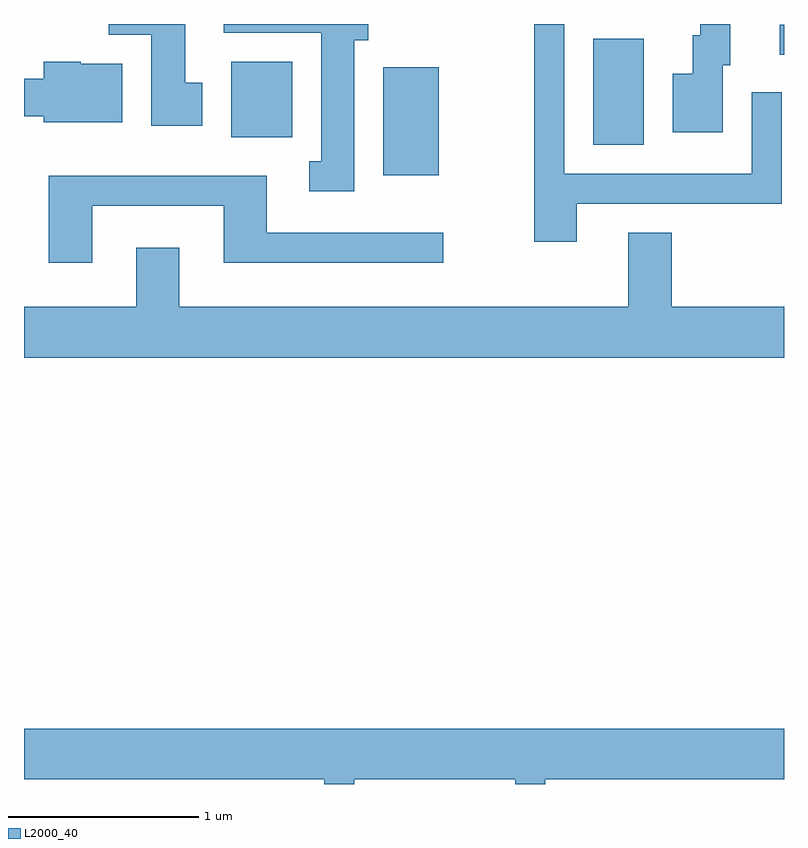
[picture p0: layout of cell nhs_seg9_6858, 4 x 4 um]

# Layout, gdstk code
import gdstk
lib = gdstk.Library(unit=1e-6, precision=1e-09)
def R(c, l, rs):  # rectangles x0, y0, x1, y1
    for r in rs: c.add(gdstk.rectangle(r[:2], r[2:], *l))
def P(c, l, *ps):  # polygons
    for p in ps: c.add(gdstk.Polygon(p, *l))
L2000_40 = (2000, 40)

nhs_seg9_6858 = lib.new_cell('nhs_seg9_6858')
R(nhs_seg9_6858, L2000_40, [(389.501,2021.636,389.794,2022.204), (390.606,2021.796,390.874,2022.354), (388.701,2021.836,389.024,2022.234), (391.588,2022.271,391.611,2022.429)])
P(nhs_seg9_6858, L2000_40, [(388.549,2022.124),(388.459,2022.124),(388.459,2022.432),(388.056,2022.432),(388.056,2022.376),(388.281,2022.376),(388.281,2021.896),(388.549,2021.896)],
  [(390.519,2021.486),(391.599,2021.486),(391.599,2022.073),(391.441,2022.073),(391.441,2021.644),(390.454,2021.644),(390.454,2022.432),(390.296,2022.432),(390.296,2021.286),(390.519,2021.286)],
  [(391.289,2022.216),(391.329,2022.216),(391.329,2022.432),(391.171,2022.432),(391.171,2022.374),(391.131,2022.374),(391.131,2022.169),(391.026,2022.169),(391.026,2021.861),(391.289,2021.861)],
  [(389.349,2022.346),(389.424,2022.346),(389.424,2022.432),(388.661,2022.432),(388.661,2022.386),(389.176,2022.386),(389.176,2021.709),(389.113,2021.709),(389.113,2021.551),(389.349,2021.551)],
  [(388.129,2022.224),(387.91,2022.224),(387.91,2022.234),(387.716,2022.234),(387.716,2022.144),(387.611,2022.144),(387.611,2021.946),(387.716,2021.946),(387.716,2021.916),(388.129,2021.916)],
  [(387.969,2021.476),(388.661,2021.476),(388.661,2021.176),(389.818,2021.176),(389.818,2021.334),(388.889,2021.334),(388.889,2021.634),(387.741,2021.634),(387.741,2021.176),(387.969,2021.176)],
  [(391.611,2020.944),(391.019,2020.944),(391.019,2021.334),(390.791,2021.334),(390.791,2020.944),(388.429,2020.944),(388.429,2021.254),(388.201,2021.254),(388.201,2020.944),(387.611,2020.944),(387.611,2020.676),(391.611,2020.676)],
  [(389.349,2018.456),(390.196,2018.456),(390.196,2018.432),(390.354,2018.432),(390.354,2018.456),(391.611,2018.456),(391.611,2018.724),(387.611,2018.724),(387.611,2018.456),(389.191,2018.456),(389.191,2018.432),(389.349,2018.432)])

lib.write_gds('nhs_seg9_6858.gds')
